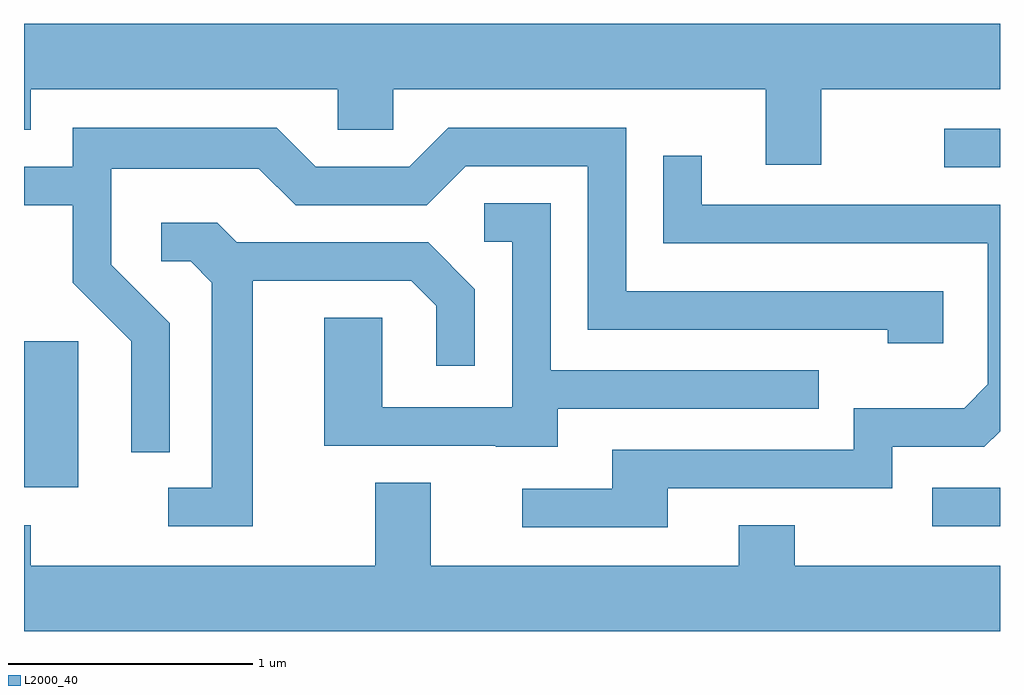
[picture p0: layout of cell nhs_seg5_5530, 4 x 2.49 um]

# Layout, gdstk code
import gdstk
lib = gdstk.Library(unit=1e-6, precision=1e-09)
def R(c, l, rs):  # rectangles x0, y0, x1, y1
    for r in rs: c.add(gdstk.rectangle(r[:2], r[2:], *l))
def P(c, l, *ps):  # polygons
    for p in ps: c.add(gdstk.Polygon(p, *l))
L2000_40 = (2000, 40)

nhs_seg5_5530 = lib.new_cell('nhs_seg5_5530')
R(nhs_seg5_5530, L2000_40, [(353.333,1419.486,353.611,1419.644), (349.611,1419.646,349.834,1420.244), (353.383,1420.956,353.611,1421.114)])
P(nhs_seg5_5530, L2000_40, [(352.879,1421.276),(353.611,1421.276),(353.611,1421.544),(349.611,1421.544),(349.611,1421.111),(349.639,1421.111),(349.639,1421.276),(350.896,1421.276),(350.896,1421.111),(351.124,1421.111),(351.124,1421.276),(352.651,1421.276),(352.651,1420.966),(352.879,1420.966)],
  [(350.209,1420.317),(349.969,1420.557),(349.969,1420.951),(350.574,1420.951),(350.724,1420.801),(351.262,1420.801),(351.422,1420.961),(351.921,1420.961),(351.921,1420.291),(353.151,1420.291),(353.151,1420.236),(353.379,1420.236),(353.379,1420.449),(352.079,1420.449),(352.079,1421.119),(351.349,1421.119),(351.189,1420.959),(350.807,1420.959),(350.647,1421.119),(349.811,1421.119),(349.811,1420.959),(349.611,1420.959),(349.611,1420.801),(349.811,1420.801),(349.811,1420.484),(350.051,1420.244),(350.051,1419.788),(350.209,1419.788)],
  [(352.249,1419.641),(353.169,1419.641),(353.169,1419.811),(353.547,1419.811),(353.611,1419.875),(353.611,1420.804),(352.389,1420.804),(352.389,1421.003),(352.231,1421.003),(352.231,1420.646),(353.561,1420.646),(353.561,1420.067),(353.464,1419.969),(353.011,1419.969),(353.011,1419.799),(352.021,1419.799),(352.021,1419.639),(351.653,1419.639),(351.653,1419.481),(352.249,1419.481)],
  [(351.799,1419.966),(352.868,1419.966),(352.868,1420.124),(351.769,1420.124),(351.769,1420.809),(351.498,1420.809),(351.498,1420.651),(351.611,1420.651),(351.611,1419.974),(351.079,1419.974),(351.079,1420.339),(350.841,1420.339),(350.841,1419.816),(351.545,1419.816),(351.545,1419.811),(351.799,1419.811)],
  [(350.549,1420.491),(351.199,1420.491),(351.301,1420.389),(351.301,1420.143),(351.459,1420.143),(351.459,1420.457),(351.267,1420.649),(350.482,1420.649),(350.402,1420.729),(350.173,1420.729),(350.173,1420.571),(350.294,1420.571),(350.381,1420.484),(350.381,1419.644),(350.203,1419.644),(350.203,1419.486),(350.549,1419.486)],
  [(353.611,1419.324),(352.769,1419.324),(352.769,1419.489),(352.541,1419.489),(352.541,1419.324),(351.279,1419.324),(351.279,1419.664),(351.051,1419.664),(351.051,1419.324),(349.639,1419.324),(349.639,1419.489),(349.611,1419.489),(349.611,1419.056),(353.611,1419.056)])

lib.write_gds('nhs_seg5_5530.gds')
